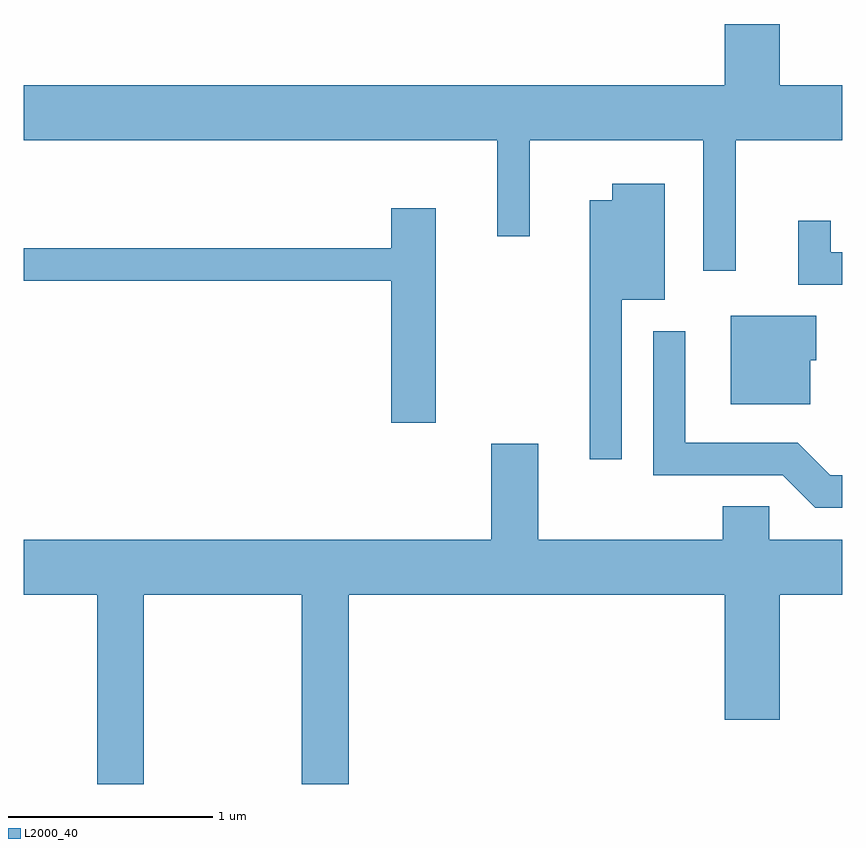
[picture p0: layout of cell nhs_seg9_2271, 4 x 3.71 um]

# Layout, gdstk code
import gdstk
lib = gdstk.Library(unit=1e-6, precision=1e-09)
def P(c, l, *ps):  # polygons
    for p in ps: c.add(gdstk.Polygon(p, *l))
L2000_40 = (2000, 40)

nhs_seg9_2271 = lib.new_cell('nhs_seg9_2271')
P(nhs_seg9_2271, L2000_40, [(255.089,2009.576),(255.611,2009.576),(255.611,2009.844),(255.304,2009.844),(255.304,2010.144),(255.036,2010.144),(255.036,2009.844),(251.611,2009.844),(251.611,2009.576),(253.926,2009.576),(253.926,2009.108),(254.084,2009.108),(254.084,2009.576),(254.931,2009.576),(254.931,2008.938),(255.089,2008.938)],
  [(254.534,2008.796),(254.744,2008.796),(254.744,2009.364),(254.486,2009.364),(254.486,2009.284),(254.376,2009.284),(254.376,2008.018),(254.534,2008.018)],
  [(253.624,2009.244),(253.406,2009.244),(253.406,2009.049),(251.611,2009.049),(251.611,2008.891),(253.406,2008.891),(253.406,2008.196),(253.624,2008.196)],
  [(255.611,2009.029),(255.554,2009.029),(255.554,2009.183),(255.396,2009.183),(255.396,2008.871),(255.611,2008.871)],
  [(255.454,2008.501),(255.484,2008.501),(255.484,2008.719),(255.066,2008.719),(255.066,2008.286),(255.454,2008.286)],
  [(255.611,2007.939),(255.552,2007.939),(255.392,2008.099),(254.844,2008.099),(254.844,2008.643),(254.686,2008.643),(254.686,2007.941),(255.319,2007.941),(255.479,2007.781),(255.611,2007.781)],
  [(252.199,2007.356),(252.971,2007.356),(252.971,2006.432),(253.199,2006.432),(253.199,2007.356),(255.036,2007.356),(255.036,2006.746),(255.304,2006.746),(255.304,2007.356),(255.611,2007.356),(255.611,2007.624),(255.254,2007.624),(255.254,2007.789),(255.026,2007.789),(255.026,2007.624),(254.124,2007.624),(254.124,2008.094),(253.896,2008.094),(253.896,2007.624),(251.611,2007.624),(251.611,2007.356),(251.971,2007.356),(251.971,2006.432),(252.199,2006.432)])

lib.write_gds('nhs_seg9_2271.gds')
